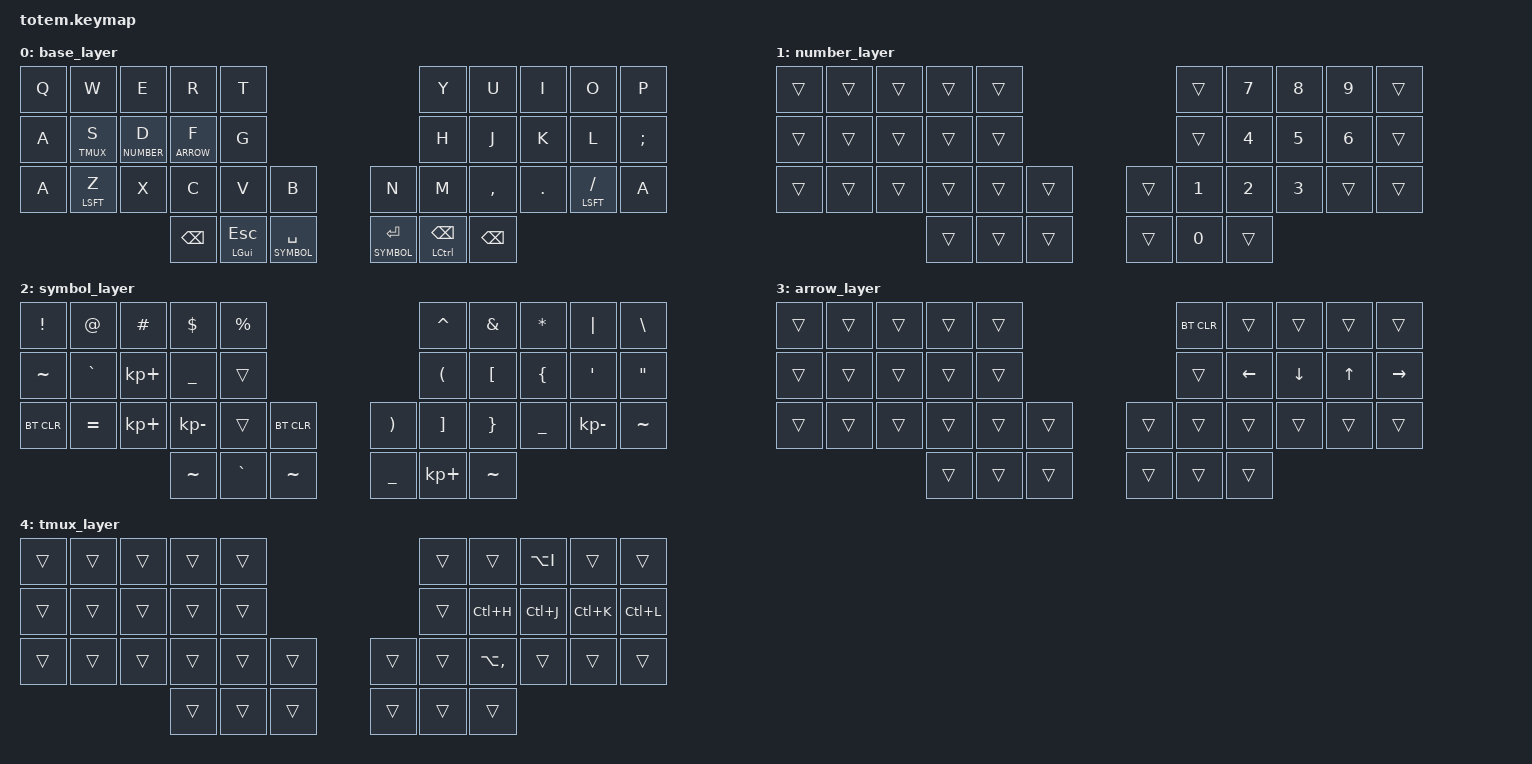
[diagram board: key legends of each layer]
//
//                                                        ▀▀▀▀▀     ▀▀▀▀▀          ▀▀█▀▀
//                                                        ▄▀▀▀▄  ▄  ▄▀▀▀▄  ▄  ▄▀▀▀▄  █  ▄▀▀▀▄
//                                                        █   █  █  █   █  █  █   █  █  █   █
//                                                         ▀▀▀   █   ▀▀▀   █   ▀▀▀   ▀   ▀▀▀
//                                                               █      ▄▄▄█▄▄▄    █   █  
//                                                               ▀      █  █  █     █▄█
//                                                             ▀▀▀▀▀    █  █  █      ▀
//                                                                      ▀  ▀  ▀
//
// ▄▄▄▄▄▄▄▄▄▄▄▄▄▄▄▄▄▄▄▄▄▄▄▄▄▄▄▄▄▄▄▄▄▄▄▄▄▄▄▄▄▄▄▄▄▄▄▄▄▄▄▄▄▄▄▄▄▄▄▄▄▄▄▄▄▄▄▄▄▄▄▄▄▄▄▄▄▄▄▄▄▄▄▄▄▄▄▄▄▄▄▄▄▄▄▄▄▄▄▄▄▄▄▄▄▄▄▄▄▄▄▄▄▄▄▄▄▄▄▄▄▄▄▄▄▄▄▄▄▄▄▄▄▄▄▄▄▄▄▄▄▄▄▄▄▄▄▄▄
       

#include <behaviors.dtsi>
#include <dt-bindings/zmk/keys.h>
#include <dt-bindings/zmk/bt.h>
#include <dt-bindings/zmk/outputs.h>


#define BASE 0
#define NUMBER 1
#define SYMBOL 2
#define ARROW 3
#define TMUX 4

&mt {
  quick-tap-ms = <100>;
  global-quick-tap;
  flavor = "tap-preferred";
  tapping-term-ms = <170>;
};

/ {

    combos {
        compatible = "zmk,combos";
        combo_del {
            timeout-ms = <50>;
            key-positions = <15 16>;
            bindings = <&kp BSPC>;
        };
        combo_tab {
            timeout-ms = <50>;
            key-positions = <16 17>;
            bindings = <&kp TAB>;
        };
        
         combo_alt {
            timeout-ms = <50>;
            key-positions = <25 26>;
            bindings = <&kp LALT>;
        };
        
    };

        keymap {
                compatible = "zmk,keymap";
// ▄▄▄▄▄▄▄▄▄▄▄▄▄▄▄▄▄▄▄▄▄▄▄▄▄▄▄▄▄▄▄▄▄▄▄▄▄▄▄▄▄▄▄▄▄▄▄▄▄▄▄▄▄▄▄▄▄▄▄▄▄▄▄▄▄▄▄▄▄▄▄▄▄▄▄▄▄▄▄▄▄▄▄▄▄▄▄▄▄▄▄▄▄▄▄▄▄▄▄▄▄▄▄▄▄▄▄▄▄▄▄▄▄▄▄▄▄▄▄▄▄▄▄▄▄▄▄▄▄▄▄▄▄▄▄▄▄▄▄▄▄▄▄▄▄▄▄▄▄

                base_layer {
// ┏━━━━━━━━━━━━━━━━━━━━━━━━━━━━━━━━━━━━━━━┓
// ┗━━━━━━━━━━━━━━━━━━━━━━━━━━━━━━━━━━━━━━━┛
//             ┏━━━━━━━━━━━┳━━━━━━━━━━━┳━━━━━━━━━━━┳━━━━━━━━━━━┳━━━━━━━━━━━┓   ┏━━━━━━━━━━━┳━━━━━━━━━━━┳━━━━━━━━━━━┳━━━━━━━━━━━┳━━━━━━━━━━━┓
//             ┃     Q     ┃     W     ┃     F     ┃     P     ┃     G     ┃   ┃     J     ┃     L     ┃     U     ┃     Y     ┃     ;     ┃
//             ┣━━━━━━━━━━━╋━━━━━━━━━━━╋━━━━━━━━━━━╋━━━━━━━━━━━╋━━━━━━━━━━━┫   ┣━━━━━━━━━━━╋━━━━━━━━━━━╋━━━━━━━━━━━╋━━━━━━━━━━━╋━━━━━━━━━━━┫
//             ┃     A     ┃     R     ┃     S     ┃     T     ┃     D     ┃   ┃     H     ┃     N     ┃     E     ┃     I     ┃     O     ┃
// ┏━━━━━━━━━━━╋━━━━━━━━━━━╋━━━━━━━━━━━╋━━━━━━━━━━━╋━━━━━━━━━━━╋━━━━━━━━━━━┫   ┣━━━━━━━━━━━╋━━━━━━━━━━━╋━━━━━━━━━━━╋━━━━━━━━━━━╋━━━━━━━━━━━╋━━━━━━━━━━━┓
// ┃     Q     ┃     Z     ┃     X     ┃     C     ┃     V     ┃     B     ┃   ┃     K     ┃     M     ┃     ,     ┃     .     ┃     /     ┃     \     ┃
// ┗━━━━━━━━━━━┻━━━━━━━━━━━┻━━━━━━━━━━━╋━━━━━━━━━━━╋━━━━━━━━━━━╋━━━━━━━━━━━┫   ┣━━━━━━━━━━━╋━━━━━━━━━━━╋━━━━━━━━━━━╋━━━━━━━━━━━┻━━━━━━━━━━━┻━━━━━━━━━━━┛
//                                     ┃    DEL    ┃    TAB    ┃    SPC    ┃   ┃   ENTER   ┃           ┃   BSPC    ┃
//                                     ┗━━━━━━━━━━━┻━━━━━━━━━━━┻━━━━━━━━━━━┛   ┗━━━━━━━━━━━┻━━━━━━━━━━━┻━━━━━━━━━━━┛
 bindings = <
// ╷           ╷           ╷           ╷           ╷           ╷           ╷   ╷           ╷           ╷           ╷           ╷           ╷           ╷

		&kp Q &kp W &kp E &kp R &kp T 						        &kp Y &kp U  &kp I    &kp O   &kp P 
                &kp A &lt TMUX S &lt NUMBER D &lt ARROW F &kp G 	        	        &kp H &kp J &kp K &kp L &kp SEMICOLON
	&kp A 	&mt LSFT Z &kp X &kp C &kp V &kp B				                &kp N &kp M  &kp CMMA &kp DOT &mt LSFT SLASH &kp A
          		&kp BSPC &mt LGUI ESC &lt SYMBOL SPACE   			 &lt SYMBOL ENTER  &mt LCTRL BSPC &kp BSPC
                        >;
                };

// ▄▄▄▄▄▄▄▄▄▄▄▄▄▄▄▄▄▄▄▄▄▄▄▄▄▄▄▄▄▄▄▄▄▄▄▄▄▄▄▄▄▄▄▄▄▄▄▄▄▄▄▄▄▄▄▄▄▄▄▄▄▄▄▄▄▄▄▄▄▄▄▄▄▄▄▄▄▄▄▄▄▄▄▄▄▄▄▄▄▄▄▄▄▄▄▄▄▄▄▄▄▄▄▄▄▄▄▄▄▄▄▄▄▄▄▄▄▄▄▄▄▄▄▄▄▄▄▄▄▄▄▄▄▄▄▄▄▄▄▄▄▄▄▄▄▄▄▄▄


                number_layer {
// ┏━━━━━━━━━━━━━━━━━━━━━━━━━━━━━━━━━━━━━━━┓
// ┗━━━━━━━━━━━━━━━━━━━━━━━━━━━━━━━━━━━━━━━┛
//             ┏━━━━━━━━━━━┳━━━━━━━━━━━┳━━━━━━━━━━━┳━━━━━━━━━━━┳━━━━━━━━━━━┓   ┏━━━━━━━━━━━┳━━━━━━━━━━━┳━━━━━━━━━━━┳━━━━━━━━━━━┳━━━━━━━━━━━┓
//             ┃           ┃           ┃     UP    ┃           ┃     {     ┃   ┃     }     ┃     7     ┃     8     ┃     9     ┃     +     ┃
//             ┣━━━━━━━━━━━╋━━━━━━━━━━━╋━━━━━━━━━━━╋━━━━━━━━━━━╋━━━━━━━━━━━┫   ┣━━━━━━━━━━━╋━━━━━━━━━━━╋━━━━━━━━━━━╋━━━━━━━━━━━╋━━━━━━━━━━━┫
//             ┃   SHIFT   ┃   LEFT    ┃    DOWN   ┃   RIGHT   ┃     [     ┃   ┃     ]     ┃     4     ┃     5     ┃     6     ┃     -     ┃
// ┏━━━━━━━━━━━╋━━━━━━━━━━━╋━━━━━━━━━━━╋━━━━━━━━━━━╋━━━━━━━━━━━╋━━━━━━━━━━━┫   ┣━━━━━━━━━━━╋━━━━━━━━━━━╋━━━━━━━━━━━╋━━━━━━━━━━━╋━━━━━━━━━━━╋━━━━━━━━━━━┓
// ┃           ┃           ┃   P UP    ┃  C LOCK   ┃  P DOWN   ┃     (     ┃   ┃     )     ┃     1     ┃     2     ┃     3     ┃     *     ┃           ┃
// ┗━━━━━━━━━━━┻━━━━━━━━━━━┻━━━━━━━━━━━╋━━━━━━━━━━━╋━━━━━━━━━━━╋━━━━━━━━━━━┫   ┣━━━━━━━━━━━╋━━━━━━━━━━━╋━━━━━━━━━━━╋━━━━━━━━━━━┻━━━━━━━━━━━┻━━━━━━━━━━━┛
//                                     ┃           ┃    TAB    ┃    SPC    ┃   ┃    DEL    ┃     0     ┃           ┃
//                                     ┗━━━━━━━━━━━┻━━━━━━━━━━━┻━━━━━━━━━━━┛   ┗━━━━━━━━━━━┻━━━━━━━━━━━┻━━━━━━━━━━━┛
 bindings = <
// ╷           ╷           ╷           ╷           ╷           ╷           ╷   ╷           ╷           ╷           ╷           ╷           ╷           ╷

              &trans    &trans    &trans    &trans    &trans                         &trans    &kp N7 &kp N8 &kp N9    &trans     
              &trans    &trans    &trans    &trans    &trans                         &trans    &kp N4 &kp N5 &kp N6    &trans 
        &trans &trans    &trans    &trans    &trans    &trans                         &trans    &kp N1 &kp N2 &kp N3    &trans &trans
                                        &trans &trans    &trans                         &trans    &kp N0  &trans
                        >;
                };

// ▄▄▄▄▄▄▄▄▄▄▄▄▄▄▄▄▄▄▄▄▄▄▄▄▄▄▄▄▄▄▄▄▄▄▄▄▄▄▄▄▄▄▄▄▄▄▄▄▄▄▄▄▄▄▄▄▄▄▄▄▄▄▄▄▄▄▄▄▄▄▄▄▄▄▄▄▄▄▄▄▄▄▄▄▄▄▄▄▄▄▄▄▄▄▄▄▄▄▄▄▄▄▄▄▄▄▄▄▄▄▄▄▄▄▄▄▄▄▄▄▄▄▄▄▄▄▄▄▄▄▄▄▄▄▄▄▄▄▄▄▄▄▄▄▄▄▄▄▄


                symbol_layer {
// ┏━━━━━━━━━━━━━━━━━━━━━━━━━━━━━━━━━━━━━━━┓
// ┗━━━━━━━━━━━━━━━━━━━━━━━━━━━━━━━━━━━━━━━┛
//             ┏━━━━━━━━━━━┳━━━━━━━━━━━┳━━━━━━━━━━━┳━━━━━━━━━━━┳━━━━━━━━━━━┓   ┏━━━━━━━━━━━┳━━━━━━━━━━━┳━━━━━━━━━━━┳━━━━━━━━━━━┳━━━━━━━━━━━┓
//             ┃     !     ┃     @     ┃     #     ┃     $     ┃     %     ┃   ┃     ˆ     ┃     &     ┃     Ü     ┃     '     ┃     "     ┃
//             ┣━━━━━━━━━━━╋━━━━━━━━━━━╋━━━━━━━━━━━╋━━━━━━━━━━━╋━━━━━━━━━━━┫   ┣━━━━━━━━━━━╋━━━━━━━━━━━╋━━━━━━━━━━━╋━━━━━━━━━━━╋━━━━━━━━━━━┫
//             ┃     Ä     ┃           ┃    SZ     ┃           ┃           ┃   ┃   MUTE    ┃   YEN     ┃   EURO    ┃  POUND    ┃     Ö     ┃
// ┏━━━━━━━━━━━╋━━━━━━━━━━━╋━━━━━━━━━━━╋━━━━━━━━━━━╋━━━━━━━━━━━╋━━━━━━━━━━━┫   ┣━━━━━━━━━━━╋━━━━━━━━━━━╋━━━━━━━━━━━╋━━━━━━━━━━━╋━━━━━━━━━━━╋━━━━━━━━━━━┓
// ┃           ┃  EMAIL1   ┃  EMAIL2   ┃           ┃           ┃           ┃   ┃   VOL-    ┃   VOL+    ┃   LAST    ┃   NEXT    ┃     \     ┃           ┃
// ┗━━━━━━━━━━━┻━━━━━━━━━━━┻━━━━━━━━━━━╋━━━━━━━━━━━╋━━━━━━━━━━━╋━━━━━━━━━━━┫   ┣━━━━━━━━━━━╋━━━━━━━━━━━╋━━━━━━━━━━━╋━━━━━━━━━━━┻━━━━━━━━━━━┻━━━━━━━━━━━┛
//                                     ┃           ┃    GIF    ┃    ADJ    ┃   ┃           ┃           ┃           ┃
//                                     ┗━━━━━━━━━━━┻━━━━━━━━━━━┻━━━━━━━━━━━┛   ┗━━━━━━━━━━━┻━━━━━━━━━━━┻━━━━━━━━━━━┛
 bindings = <
// ╷           ╷           ╷           ╷           ╷           ╷           ╷   ╷           ╷           ╷           ╷           ╷           ╷           ╷

              &kp EXCL &kp AT    &kp HASH &kp DOLLAR &kp PERCENT                &kp CARET &kp AMPERSAND &kp ASTERISK  &kp PIPE &kp BACKSLASH
              &kp TILDE    &kp GRAVE    &kp KP_PLUS    &kp UNDER    &trans              &kp LPAR    &kp LBKT    &kp LBRC    &kp SQT    &kp DQT  
&bt BT_CLR   &kp EQUAL    &kp KP_PLUS    &kp KP_MINUS    &trans    &bt BT_CLR            &kp RPAR    &kp RBKT    &kp RBRC    &kp UNDER    &kp KP_MINUS  &kp TILDE
                                        &kp TILDE &kp GRAVE   &kp TILDE            &kp UNDER    &kp KP_PLUS  &kp TILDE
                        >;
                };

// ▄▄▄▄▄▄▄▄▄▄▄▄▄▄▄▄▄▄▄▄▄▄▄▄▄▄▄▄▄▄▄▄▄▄▄▄▄▄▄▄▄▄▄▄▄▄▄▄▄▄▄▄▄▄▄▄▄▄▄▄▄▄▄▄▄▄▄▄▄▄▄▄▄▄▄▄▄▄▄▄▄▄▄▄▄▄▄▄▄▄▄▄▄▄▄▄▄▄▄▄▄▄▄▄▄▄▄▄▄▄▄▄▄▄▄▄▄▄▄▄▄▄▄▄▄▄▄▄▄▄▄▄▄▄▄▄▄▄▄▄▄▄▄▄▄▄▄▄▄


                arrow_layer {
// ┏━━━━━━━━━━━━━━━━━━━━━━━━━━━━━━━━━━━━━━━┓
// ┗━━━━━━━━━━━━━━━━━━━━━━━━━━━━━━━━━━━━━━━┛
//             ┏━━━━━━━━━━━┳━━━━━━━━━━━┳━━━━━━━━━━━┳━━━━━━━━━━━┳━━━━━━━━━━━┓   ┏━━━━━━━━━━━┳━━━━━━━━━━━┳━━━━━━━━━━━┳━━━━━━━━━━━┳━━━━━━━━━━━┓
//             ┃   RESET   ┃ BT CLEAR  ┃  OUT TOG  ┃           ┃           ┃   ┃           ┃    F7     ┃    F8     ┃    F9     ┃    F12    ┃
//             ┣━━━━━━━━━━━╋━━━━━━━━━━━╋━━━━━━━━━━━╋━━━━━━━━━━━╋━━━━━━━━━━━┫   ┣━━━━━━━━━━━╋━━━━━━━━━━━╋━━━━━━━━━━━╋━━━━━━━━━━━╋━━━━━━━━━━━┫
//             ┃ BOOTLOAD  ┃ BT NEXT   ┃           ┃           ┃           ┃   ┃           ┃    F4     ┃    F5     ┃    F6     ┃    F11    ┃
// ┏━━━━━━━━━━━╋━━━━━━━━━━━╋━━━━━━━━━━━╋━━━━━━━━━━━╋━━━━━━━━━━━╋━━━━━━━━━━━┫   ┣━━━━━━━━━━━╋━━━━━━━━━━━╋━━━━━━━━━━━╋━━━━━━━━━━━╋━━━━━━━━━━━╋━━━━━━━━━━━┓
// ┃           ┃           ┃ BT PREV   ┃           ┃           ┃           ┃   ┃           ┃    F1     ┃    F2     ┃    F3     ┃    F10    ┃           ┃
// ┗━━━━━━━━━━━┻━━━━━━━━━━━┻━━━━━━━━━━━╋━━━━━━━━━━━╋━━━━━━━━━━━╋━━━━━━━━━━━┫   ┣━━━━━━━━━━━╋━━━━━━━━━━━╋━━━━━━━━━━━╋━━━━━━━━━━━┻━━━━━━━━━━━┻━━━━━━━━━━━┛
//                                     ┃           ┃           ┃           ┃   ┃           ┃           ┃           ┃
//                                     ┗━━━━━━━━━━━┻━━━━━━━━━━━┻━━━━━━━━━━━┛   ┗━━━━━━━━━━━┻━━━━━━━━━━━┻━━━━━━━━━━━┛
 bindings = <
// ╷           ╷           ╷           ╷           ╷           ╷           ╷   ╷           ╷           ╷           ╷           ╷           ╷           ╷

              &trans    &trans    &trans    &trans    &trans                         &bt BT_CLR    &trans    &trans    &trans    &trans     
              &trans    &trans    &trans    &trans    &trans                         &trans    &kp LEFT  &kp DOWN    &kp UP  &kp RIGHT  
        &trans &trans    &trans    &trans    &trans    &trans                        &trans    &trans    &trans    &trans    &trans &trans
                        &trans      &trans    &trans                                  &trans    &trans  &trans
                        >;
                };

        tmux_layer {
        bindings = <
      &trans    &trans    &trans    &trans    &trans                         &trans    &trans    &kp LA(I)    &trans    &trans     
      &trans    &trans    &trans    &trans    &trans                         &trans    &kp LC(H) &kp LC(J)    &kp LC(K)    &kp LC(L)
 &trans     &trans    &trans    &trans    &trans    &trans                         &trans    &trans    &kp LA(COMMA)    &trans    &trans   &trans
                         &trans &trans     &trans                                  &trans    &trans    &trans
        >;
        };	

        };

};


